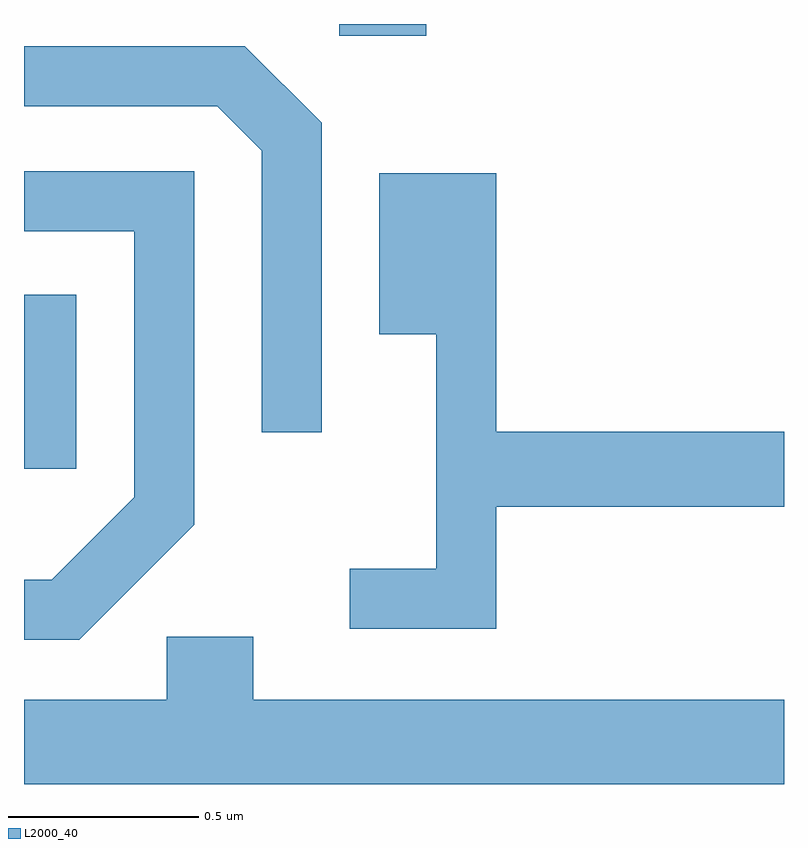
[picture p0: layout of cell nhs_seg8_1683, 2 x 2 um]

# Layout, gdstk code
import gdstk
lib = gdstk.Library(unit=1e-6, precision=1e-09)
def R(c, l, rs):  # rectangles x0, y0, x1, y1
    for r in rs: c.add(gdstk.rectangle(r[:2], r[2:], *l))
def P(c, l, *ps):  # polygons
    for p in ps: c.add(gdstk.Polygon(p, *l))
L2000_40 = (2000, 40)

nhs_seg8_1683 = lib.new_cell('nhs_seg8_1683')
R(nhs_seg8_1683, L2000_40, [(197.611,1846.171,197.749,1846.629), (198.441,1847.311,198.669,1847.342)])
P(nhs_seg8_1683, L2000_40, [(198.394,1847.082),(198.192,1847.284),(197.611,1847.284),(197.611,1847.126),(198.119,1847.126),(198.236,1847.009),(198.236,1846.268),(198.394,1846.268)],
  [(198.059,1846.024),(198.059,1846.954),(197.611,1846.954),(197.611,1846.796),(197.901,1846.796),(197.901,1846.097),(197.684,1845.879),(197.611,1845.879),(197.611,1845.721),(197.757,1845.721)],
  [(198.854,1846.071),(199.611,1846.071),(199.611,1846.269),(198.854,1846.269),(198.854,1846.949),(198.546,1846.949),(198.546,1846.526),(198.696,1846.526),(198.696,1845.909),(198.468,1845.909),(198.468,1845.751),(198.854,1845.751)],
  [(199.611,1845.564),(198.214,1845.564),(198.214,1845.729),(197.986,1845.729),(197.986,1845.564),(197.611,1845.564),(197.611,1845.342),(199.611,1845.342)])

lib.write_gds('nhs_seg8_1683.gds')
